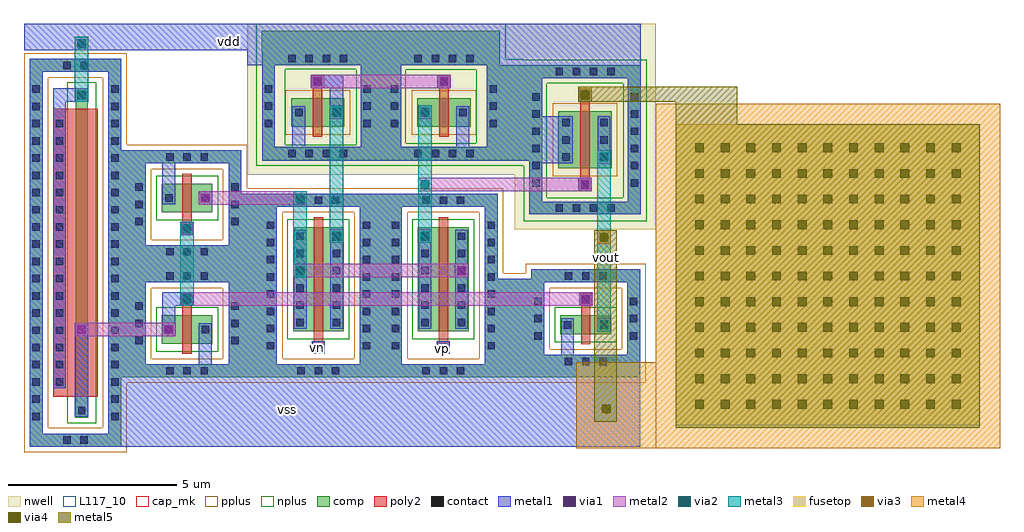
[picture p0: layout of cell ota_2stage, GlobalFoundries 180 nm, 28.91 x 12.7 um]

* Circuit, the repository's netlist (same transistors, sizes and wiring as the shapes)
** sch_path: /foss/designs/Mosbious_2025_Spikcore/designs/libs/core_LIF_comp/core_ota_2stage/ota_2stage.sch
.subckt ota_2stage vdd vn vout vp vss
*.PININFO vdd:B vss:B vn:B vp:B vout:B
XM3 net1 net1 vdd vdd pfet_03v3 L=0.28u W=0.84u nf=1 m=1
XM1 net1 vn net3 vss nfet_03v3 L=0.28u W=3.08u nf=1 m=1
XM4 net2 net1 vdd vdd pfet_03v3 L=0.28u W=0.84u nf=1 m=1
XM2 net2 vp net3 vss nfet_03v3 L=0.28u W=3.08u nf=1 m=1
XM5 net3 net4 vss vss nfet_03v3 L=0.28u W=0.84u nf=1 m=1
XM8 net4 net4 vss vss nfet_03v3 L=0.28u W=0.84u nf=1 m=1
XM9 vdd vdd net4 vss nfet_03v3 L=8.54u W=0.36u nf=1 m=1
XM6 vout net2 vdd vdd pfet_03v3 L=0.28u W=0.28u nf=1 m=6
XM7 vout net4 vss vss nfet_03v3 L=0.28u W=0.56u nf=1 m=1
XC1 net2 vout cap_mim_2f0fF c_width=9e-6 c_length=9e-6 m=1
.ends

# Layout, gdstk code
from math import pi, radians
import gdstk
lib = gdstk.Library(unit=1e-6, precision=5e-09)
def R(c, l, rs):  # rectangles x0, y0, x1, y1
    for r in rs: c.add(gdstk.rectangle(r[:2], r[2:], *l))
def A(c, l, x, y, w, h, nx, ny, dx, dy):  # array of equal rectangles
    R(c, l, [(x+i*dx, y+j*dy, x+i*dx+w, y+j*dy+h) for i in range(nx) for j in range(ny)])
def P(c, l, *ps):  # polygons
    for p in ps: c.add(gdstk.Polygon(p, *l))
nwell = (21, 0)
comp = (22, 0)
poly2 = (30, 0)
pplus = (31, 0)
nplus = (32, 0)
contact = (33, 0)
metal1 = (34, 0)
via1 = (35, 0)
metal2 = (36, 0)
via2 = (38, 0)
via3 = (40, 0)
via4 = (41, 0)
metal3 = (42, 0)
metal4 = (46, 0)
fusetop = (75, 0)
metal5 = (81, 0)
cap_mk = (117, 5)
L117_10 = (117, 10)

nfet = lib.new_cell('nfet')
R(nfet, comp, [(-0.42,-0.01,0,0.37), (8.92,-0.01,9.34,0.37), (0,0,8.92,0.36)])
P(nfet, comp, [(-1.28,-0.99),(-1.28,1.34),(-0.9,1.34),(-0.9,-0.61),(9.82,-0.61),(9.82,1.34),(-1.28,1.34),(-1.28,1.72),(10.2,1.72),(10.2,-0.99)])
R(nfet, poly2, [(0.19,-0.3,8.73,0.66), (0.19,0.66,8.73,1.02)])
P(nfet, pplus, [(-1.45,-1.16),(-1.45,1.17),(-0.73,1.17),(-0.73,-0.44),(9.65,-0.44),(9.65,1.17),(-1.45,1.17),(-1.45,1.89),(10.37,1.89),(10.37,-1.16)])
R(nfet, nplus, [(-0.59,-0.25,9.51,0.61)])
A(nfet, contact, -0.495, -0.91, 0.22, 0.22, 20, 2, 0.51, 2.33)
A(nfet, contact, 0.525, 0.73, 0.22, 0.22, 16, 1, 0.51, 0)
R(nfet, contact, [(-1.2,0,-0.98,0.22), (9.9,0,10.12,0.22), (-0.32,0.07,-0.1,0.29), (9.02,0.07,9.24,0.29), (-1.2,0.51,-0.98,0.73), (9.9,0.51,10.12,0.73)])
R(nfet, metal1, [(-0.4,-0.01,-0.02,0.37), (8.94,-0.01,9.32,0.37), (0.445,0.65,8.475,1.03)])

via_dev = lib.new_cell('via_dev')
R(via_dev, metal1, [(0,0,0.4,0.4)])
R(via_dev, via1, [(0.07,0.07,0.33,0.33)])
R(via_dev, metal2, [(0,0,0.4,0.4)])
R(via_dev, via2, [(0.07,0.07,0.33,0.33)])
R(via_dev, metal3, [(0,0,0.4,0.4)])

via_dev_1 = lib.new_cell('via_dev$1')
R(via_dev_1, metal1, [(0,0,0.4,0.4)])
R(via_dev_1, via1, [(0.07,0.07,0.33,0.33)])
R(via_dev_1, metal2, [(0,0,0.4,0.4)])

nfet_1 = lib.new_cell('nfet$1')
R(nfet_1, comp, [(-0.42,0,0,3.08), (0,0,0.66,3.08), (0.66,0,1.08,3.08)])
P(nfet_1, comp, [(-1.28,-1.36),(-1.28,3.69),(-0.9,3.69),(-0.9,-0.98),(1.56,-0.98),(1.56,3.69),(-1.28,3.69),(-1.28,4.07),(1.94,4.07),(1.94,-1.36)])
R(nfet_1, poly2, [(0.15,-0.66,0.51,-0.3), (0.19,-0.3,0.47,3.38)])
P(nfet_1, pplus, [(-1.45,-1.53),(-1.45,3.52),(-0.73,3.52),(-0.73,-0.81),(1.39,-0.81),(1.39,3.52),(-1.45,3.52),(-1.45,4.24),(2.11,4.24),(2.11,-1.53)])
R(nfet_1, nplus, [(-0.59,-0.24,1.25,3.32)])
A(nfet_1, contact, -0.29, -1.28, 0.22, 0.22, 3, 2, 0.51, 5.05)
A(nfet_1, contact, -1.2, -0.54, 0.22, 0.22, 1, 8, 0, 0.51)
A(nfet_1, contact, 1.64, -0.54, 0.22, 0.22, 1, 8, 0, 0.51)
A(nfet_1, contact, -0.32, 0.155, 0.22, 0.22, 1, 6, 0, 0.51)
A(nfet_1, contact, 0.76, 0.155, 0.22, 0.22, 1, 6, 0, 0.51)
R(nfet_1, contact, [(0.22,-0.59,0.44,-0.37)])
R(nfet_1, metal1, [(0.14,-0.67,0.52,-0.29), (-0.4,0.075,-0.02,3.005), (0.68,0.075,1.06,3.005)])

nfet_2 = lib.new_cell('nfet$2')
R(nfet_2, comp, [(-0.42,0,0,0.84), (0,0,0.66,0.84), (0.66,0,1.08,0.84)])
P(nfet_2, comp, [(-1.28,-1.36),(-1.28,1.45),(-0.9,1.45),(-0.9,-0.98),(1.56,-0.98),(1.56,1.45),(-1.28,1.45),(-1.28,1.83),(1.94,1.83),(1.94,-1.36)])
R(nfet_2, poly2, [(0.15,-0.66,0.51,-0.3), (0.19,-0.3,0.47,1.14)])
P(nfet_2, pplus, [(-1.45,-1.53),(-1.45,1.28),(-0.73,1.28),(-0.73,-0.81),(1.39,-0.81),(1.39,1.28),(-1.45,1.28),(-1.45,2),(2.11,2),(2.11,-1.53)])
R(nfet_2, nplus, [(-0.59,-0.24,1.25,1.08)])
A(nfet_2, contact, -0.29, -1.28, 0.22, 0.22, 3, 2, 0.51, 2.81)
A(nfet_2, contact, -1.2, -0.385, 0.22, 0.22, 1, 3, 0, 0.51)
A(nfet_2, contact, 1.64, -0.385, 0.22, 0.22, 1, 3, 0, 0.51)
R(nfet_2, contact, [(0.22,-0.59,0.44,-0.37), (-0.32,0.31,-0.1,0.53), (0.76,0.31,0.98,0.53)])
R(nfet_2, metal1, [(0.14,-0.67,0.52,-0.29), (-0.4,0.23,-0.02,0.61), (0.68,0.23,1.06,0.61)])

nfet_6 = lib.new_cell('nfet$6')
R(nfet_6, comp, [(-0.42,0,0,0.84), (0,0,0.66,0.84), (0.66,0,1.08,0.84)])
P(nfet_6, comp, [(-1.28,-0.99),(-1.28,1.82),(-0.9,1.82),(-0.9,-0.61),(1.56,-0.61),(1.56,1.82),(-1.28,1.82),(-1.28,2.2),(1.94,2.2),(1.94,-0.99)])
R(nfet_6, poly2, [(0.19,-0.3,0.47,1.14), (0.15,1.14,0.51,1.5)])
P(nfet_6, pplus, [(-1.45,-1.16),(-1.45,1.65),(-0.73,1.65),(-0.73,-0.44),(1.39,-0.44),(1.39,1.65),(-1.45,1.65),(-1.45,2.37),(2.11,2.37),(2.11,-1.16)])
R(nfet_6, nplus, [(-0.59,-0.24,1.25,1.08)])
A(nfet_6, contact, -0.29, -0.91, 0.22, 0.22, 3, 2, 0.51, 2.81)
A(nfet_6, contact, -1.2, -0.015, 0.22, 0.22, 1, 3, 0, 0.51)
A(nfet_6, contact, 1.64, -0.015, 0.22, 0.22, 1, 3, 0, 0.51)
R(nfet_6, contact, [(-0.32,0.31,-0.1,0.53), (0.76,0.31,0.98,0.53), (0.22,1.21,0.44,1.43)])
R(nfet_6, metal1, [(-0.4,0.23,-0.02,0.61), (0.68,0.23,1.06,0.61), (0.14,1.13,0.52,1.51)])

via_dev_2 = lib.new_cell('via_dev$2')
R(via_dev_2, metal2, [(0,0,0.4,0.4)])
R(via_dev_2, via2, [(0.07,0.07,0.33,0.33)])
R(via_dev_2, metal3, [(0,0,0.4,0.4)])

pfet = lib.new_cell('pfet')
R(pfet, nwell, [(-1.76,-1.43,2.42,2.65)])
R(pfet, comp, [(-0.46,0,0,0.84), (0,0,0.66,0.84), (0.66,0,1.12,0.84)])
P(pfet, comp, [(-1.32,-0.99),(-1.32,1.83),(-0.94,1.83),(-0.94,-0.61),(1.6,-0.61),(1.6,1.83),(-1.32,1.83),(-1.32,2.21),(1.98,2.21),(1.98,-0.99)])
R(pfet, poly2, [(0.19,-0.3,0.47,1.14), (0.14,1.14,0.52,1.52)])
R(pfet, pplus, [(-0.63,-0.24,1.29,1.08)])
A(pfet, contact, -0.545, -0.91, 0.22, 0.22, 4, 2, 0.51, 2.82)
A(pfet, contact, -1.24, -0.01, 0.22, 0.22, 1, 3, 0, 0.51)
A(pfet, contact, 1.68, -0.01, 0.22, 0.22, 1, 3, 0, 0.51)
R(pfet, contact, [(-0.34,0.31,-0.12,0.53), (0.78,0.31,1,0.53), (0.22,1.22,0.44,1.44)])
R(pfet, metal1, [(-0.42,0.23,-0.04,0.61), (0.7,0.23,1.08,0.61), (0.14,1.14,0.52,1.52)])

pfet_1 = lib.new_cell('pfet$1')
R(pfet_1, nwell, [(-1.76,-1.81,2.42,3.49)])
R(pfet_1, comp, [(-0.46,0,0,1.68), (0,0,0.66,1.68), (0.66,0,1.12,1.68)])
P(pfet_1, comp, [(-1.32,-1.37),(-1.32,2.67),(-0.94,2.67),(-0.94,-0.99),(1.6,-0.99),(1.6,2.67),(-1.32,2.67),(-1.32,3.05),(1.98,3.05),(1.98,-1.37)])
R(pfet_1, poly2, [(0.14,-0.68,0.52,-0.3), (0.19,-0.3,0.47,1.98), (0.14,1.98,0.52,2.36)])
R(pfet_1, pplus, [(-0.63,-0.24,1.29,1.92)])
A(pfet_1, contact, -0.545, -1.29, 0.22, 0.22, 4, 2, 0.51, 4.04)
A(pfet_1, contact, -1.24, -0.545, 0.22, 0.22, 1, 6, 0, 0.51)
A(pfet_1, contact, 1.68, -0.545, 0.22, 0.22, 1, 6, 0, 0.51)
A(pfet_1, contact, -0.34, 0.22, 0.22, 0.22, 1, 3, 0, 0.51)
A(pfet_1, contact, 0.78, 0.22, 0.22, 0.22, 1, 3, 0, 0.51)
R(pfet_1, contact, [(0.22,-0.6,0.44,-0.38), (0.22,2.06,0.44,2.28)])
R(pfet_1, metal1, [(0.14,-0.68,0.52,-0.3), (-0.42,0.14,-0.04,1.54), (0.7,0.14,1.08,1.54), (0.14,1.98,0.52,2.36)])

nfet_4 = lib.new_cell('nfet$4')
R(nfet_4, comp, [(-0.42,0,0,0.56), (0,0,0.66,0.56), (0.66,0,1.08,0.56)])
P(nfet_4, comp, [(-1.28,-0.99),(-1.28,1.54),(-0.9,1.54),(-0.9,-0.61),(1.56,-0.61),(1.56,1.54),(-1.28,1.54),(-1.28,1.92),(1.94,1.92),(1.94,-0.99)])
R(nfet_4, poly2, [(0.19,-0.3,0.47,0.86), (0.15,0.86,0.51,1.22)])
P(nfet_4, pplus, [(-1.45,-1.16),(-1.45,1.37),(-0.73,1.37),(-0.73,-0.44),(1.39,-0.44),(1.39,1.37),(-1.45,1.37),(-1.45,2.09),(2.11,2.09),(2.11,-1.16)])
R(nfet_4, nplus, [(-0.59,-0.24,1.25,0.8)])
A(nfet_4, contact, -0.29, -0.91, 0.22, 0.22, 3, 2, 0.51, 2.53)
A(nfet_4, contact, -1.2, -0.155, 0.22, 0.22, 1, 3, 0, 0.51)
A(nfet_4, contact, 1.64, -0.155, 0.22, 0.22, 1, 3, 0, 0.51)
R(nfet_4, contact, [(-0.32,0.17,-0.1,0.39), (0.76,0.17,0.98,0.39), (0.22,0.93,0.44,1.15)])
R(nfet_4, metal1, [(-0.4,0.09,-0.02,0.47), (0.68,0.09,1.06,0.47), (0.14,0.85,0.52,1.23)])

cap_mim = lib.new_cell('cap_mim')
A(cap_mim, via4, 0.57, 0.57, 0.26, 0.26, 11, 11, 0.76, 0.76)
R(cap_mim, metal4, [(-0.6,-0.6,9.6,9.6)])
R(cap_mim, fusetop, [(0,0,9,9)])
R(cap_mim, metal5, [(0,0,9,9)])
R(cap_mim, cap_mk, [(-0.6,-0.6,9.6,9.6)])
R(cap_mim, L117_10, [(0,0,9,0.1)])

via_dev_3 = lib.new_cell('via_dev$3')
R(via_dev_3, metal1, [(0,0,0.4,0.4)])
R(via_dev_3, via1, [(0.07,0.07,0.33,0.33)])
R(via_dev_3, metal2, [(0,0,0.4,0.4)])
R(via_dev_3, via2, [(0.07,0.07,0.33,0.33)])
R(via_dev_3, via3, [(0.07,0.07,0.33,0.33)])
R(via_dev_3, via4, [(0.07,0.07,0.33,0.33)])
R(via_dev_3, metal3, [(0,0,0.4,0.4)])
R(via_dev_3, metal4, [(0,0,0.4,0.4)])
R(via_dev_3, metal5, [(0,0,0.4,0.4)])

via_dev_4 = lib.new_cell('via_dev$4')
R(via_dev_4, via3, [(0.07,0.07,0.33,0.33)])
R(via_dev_4, via4, [(0.07,0.07,0.33,0.33)])
R(via_dev_4, metal3, [(0,0,0.4,0.4)])
R(via_dev_4, metal4, [(0,0,0.4,0.4)])
R(via_dev_4, metal5, [(0,0,0.4,0.4)])

via_dev_6 = lib.new_cell('via_dev$6')
R(via_dev_6, via4, [(0.07,0.07,0.33,0.33)])
R(via_dev_6, metal4, [(0,0,0.4,0.4)])
R(via_dev_6, metal5, [(0,0,0.4,0.4)])

ota_2stage = lib.new_cell('ota_2stage')
R(ota_2stage, nwell, [(3.9,6.43,7.64,6.855), (7.64,6.435,8.08,7.225)])
P(ota_2stage, nwell, [(3.58,2.745),(3.58,6.825),(-4.02,6.825),(-4.02,7.225),(7.64,7.225),(7.64,6.825),(3.7,6.825),(3.7,2.745)])
R(ota_2stage, comp, [(-7.75,-3.245,-7.41,3.47), (-4.19,-3.245,-3.52,2.185), (-0.3,-3.245,0.18,2.185), (3.4,-3.245,4.4,-0.335), (4.4,-3.245,7.62,-2.965), (-7.41,-0.055,-4.19,0.28), (3.46,3.185,4.34,5.995), (-0.28,3.195,0.16,6.395), (-3.58,6.3,3.46,6.715)])
P(ota_2stage, comp, [(-0.28,3.18),(-0.28,6.385),(-3.59,6.385),(-3.59,7.015),(3.46,7.015),(3.46,6.385),(0.4,6.385),(0.4,3.635),(0.44,3.635),(0.44,3.325),(3.46,3.325),(3.46,3.18)])
R(ota_2stage, pplus, [(-4.02,-3.415,-3.69,2.355), (-0.13,-3.415,0.01,2.355), (3.57,-3.415,4.23,-0.165), (4.23,-3.415,7.79,-3.135)])
R(ota_2stage, nplus, [(3.63,3.015,4.17,6.165)])
P(ota_2stage, nplus, [(-3.75,3.015),(-3.75,5.875),(-2.89,5.875),(-2.89,3.635),(-0.795,3.635),(-0.795,5.855),(0.675,5.855),(0.675,3.68),(2.77,3.68),(2.77,5.855),(-0.795,5.855),(-0.795,5.875),(-3.75,5.875),(-3.75,7.225),(3.635,7.225),(3.635,6.555),(3.635,3.015)],
  [(4.17,1.38),(4.17,5.455),(4.86,5.455),(4.86,2.075),(7.125,2.075),(7.125,5.455),(4.17,5.455),(4.17,6.16),(7.82,6.16),(7.82,1.38)])
R(ota_2stage, metal1, [(-7.75,-5.3,-7.41,3.47), (-7.41,-5.3,3.4,-3.23), (3.375,-5.3,7.62,-2.965), (-9.12,-4.42,-8.73,-1.635), (3.375,-3.245,4.4,-0.335), (-4.19,-3.23,-3.52,2.185), (-5.45,-2.865,-5.07,-1.82), (5.28,-2.6,5.66,-1.765), (-6.53,2.035,-6.15,3.085), (4.72,3.085,5.415,4.485), (3.46,3.16,4.34,6.165), (-2.68,3.575,-2.3,4.52), (2.18,3.575,2.56,4.535), (-1.57,4.65,-1.17,5.715), (-1.815,5.315,-1.24,5.715), (-4.02,5.99,7.64,6.64), (4.34,5.995,7.64,6.435), (-10.63,6.435,7.64,7.225)])
P(ota_2stage, metal1, [(4.4,-2.965),(4.4,-0.435),(4.78,-0.435),(4.78,-2.585),(7.24,-2.585),(7.24,-0.435),(4.4,-0.435),(4.4,-0.055),(7.62,-0.055),(7.62,-2.965)],
  [(-6.53,-1.645),(-6.53,-0.735),(-5.99,-0.735),(-5.99,-1.135),(-6.15,-1.135),(-6.15,-1.645)],
  [(-7.41,-3.24),(-7.41,-0.43),(-7.03,-0.43),(-7.03,-2.865),(-4.57,-2.865),(-4.57,-0.435),(-7.41,-0.435),(-7.41,3.085),(-7.03,3.085),(-7.03,0.66),(-4.57,0.66),(-4.57,3.085),(-7.41,3.085),(-7.41,3.47),(-4.19,3.47),(-4.19,-3.24)],
  [(-3.52,-3.245),(-3.52,1.805),(-3.14,1.805),(-3.14,-2.865),(-0.68,-2.865),(-0.68,1.805),(0.56,1.805),(0.56,-2.865),(3.02,-2.865),(3.02,1.805),(-3.52,1.805),(-3.52,2.185),(3.4,2.185),(3.4,-3.245)],
  [(-3.58,3.16),(-3.58,6.015),(-3.2,6.015),(-3.2,3.575),(-0.66,3.575),(-0.66,6.015),(0.54,6.015),(0.54,3.575),(3.08,3.575),(3.08,6.015),(-3.58,6.015),(-3.58,6.395),(3.46,6.395),(3.46,3.16)],
  [(-9.77,4.455),(-9.77,5.31),(-9.12,5.31),(-9.12,4.91),(-9.39,4.91),(-9.39,4.455)],
  [(-10.46,-5.3),(-10.46,6.18),(-7.75,6.18),(-7.75,-5.3),(-10.08,-5.3),(-10.08,-4.92),(-8.13,-4.92),(-8.13,5.8),(-10.08,5.8),(-10.08,-5.3)],
  [(4.34,1.575),(4.34,5.615),(4.72,5.615),(4.72,1.955),(7.26,1.955),(7.26,5.615),(4.34,5.615),(4.34,5.995),(7.64,5.995),(7.64,1.575)])
R(ota_2stage, metal2, [(-9.1,-2.035,-6.415,-1.635), (-5.785,-1.135,5.98,-0.735), (-2.415,-0.29,2.35,0.11), (-5.46,1.86,-2.58,2.26), (1.285,2.255,5.98,2.655), (-1.73,5.315,1.61,5.715)])
R(ota_2stage, metal3, [(6.35,-1.575,6.75,3.305), (-6,-1.135,-5.6,1.165), (-2.65,-0.07,-2.25,2.105), (-1.57,0.89,-1.17,4.605), (1.05,0.89,1.45,4.58), (-9.12,5.08,-8.72,6.66)])
R(ota_2stage, metal4, [(5.73,-5.35,8.08,-2.81)])
R(ota_2stage, metal5, [(6.265,-4.57,6.93,1.1), (8.68,4.25,10.495,4.935), (5.79,4.915,10.495,5.355)])
ota_2stage.add(gdstk.Reference(nfet, (-8.74,-4.02), rotation=pi/2))
ota_2stage.add(gdstk.Reference(via_dev, (1.05,4.405)))
ota_2stage.add(gdstk.Reference(via_dev, (-1.57,4.4)))
ota_2stage.add(gdstk.Reference(via_dev_1, (-2.13,5.315)))
ota_2stage.add(gdstk.Reference(via_dev_1, (1.61,5.315)))
ota_2stage.add(gdstk.Reference(via_dev, (1.05,0.73)))
ota_2stage.add(gdstk.Reference(via_dev, (-1.57,0.73)))
ota_2stage.add(gdstk.Reference(nfet_1, (-2.24,-1.885)))
ota_2stage.add(gdstk.Reference(nfet_1, (1.46,-1.885)))
ota_2stage.add(gdstk.Reference(via_dev_1, (2.13,-0.29)))
ota_2stage.add(gdstk.Reference(nfet_2, (-6.13,1.64)))
ota_2stage.add(gdstk.Reference(via_dev, (-2.65,-0.29)))
ota_2stage.add(gdstk.Reference(via_dev_1, (-5.46,1.86)))
ota_2stage.add(gdstk.Reference(via_dev, (-6,0.96)))
ota_2stage.add(gdstk.Reference(nfet_6, (-6.13,-2.255)))
ota_2stage.add(gdstk.Reference(via_dev, (-8.72,4.91), rotation=pi/2))
ota_2stage.add(gdstk.Reference(via_dev, (-9.12,6.435)))
ota_2stage.add(gdstk.Reference(via_dev_1, (-6.54,-2.035)))
ota_2stage.add(gdstk.Reference(via_dev_2, (-2.65,1.86)))
ota_2stage.add(gdstk.Reference(pfet, (1.48,4.175)))
ota_2stage.add(gdstk.Reference(pfet, (-2.26,4.175)))
ota_2stage.add(gdstk.Reference(pfet_1, (5.66,2.945)))
ota_2stage.add(gdstk.Reference(via_dev, (6.35,-1.895)))
ota_2stage.add(gdstk.Reference(via_dev_1, (5.81,-1.135)))
ota_2stage.add(gdstk.Reference(nfet_4, (5.68,-1.975)))
r = gdstk.Reference(cap_mim, (8.68,-4.75)); r.repetition = gdstk.Repetition(1, 1, v1=(0,0), v2=(0,0)); ota_2stage.add(r)
ota_2stage.add(gdstk.Reference(via_dev, (6.35,3.075)))
ota_2stage.add(gdstk.Reference(via_dev_1, (5.79,2.255)))
ota_2stage.add(gdstk.Reference(via_dev_3, (5.79,4.915)))
ota_2stage.add(gdstk.Reference(via_dev_4, (6.35,0.7)))
ota_2stage.add(gdstk.Reference(via_dev_2, (1.05,2.255)))
ota_2stage.add(gdstk.Reference(via_dev, (-6,-1.135)))
ota_2stage.add(gdstk.Reference(via_dev_1, (-8.72,-2.035), rotation=pi/2))
ota_2stage.add(gdstk.Reference(via_dev_6, (6.415,-4.39)))
ota_2stage.add(gdstk.Label('vdd', (-4.545,6.695), layer=34, texttype=10))
ota_2stage.add(gdstk.Label('vp', (1.78,-2.385), layer=34, texttype=10))
ota_2stage.add(gdstk.Label('vn', (-1.925,-2.375), layer=34, texttype=10))
ota_2stage.add(gdstk.Label('vss', (-2.815,-4.215), layer=34, texttype=10))
ota_2stage.add(gdstk.Label('vout', (6.635,0.295), layer=42, texttype=10))

lib.write_gds('ota_2stage.gds')
